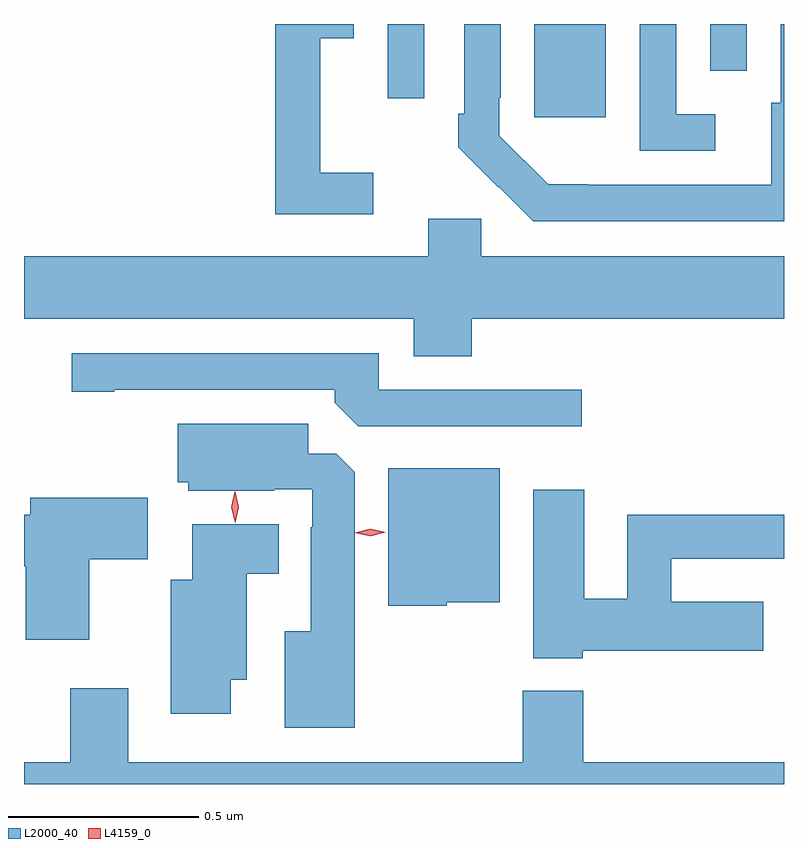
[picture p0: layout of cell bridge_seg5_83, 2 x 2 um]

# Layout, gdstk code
import gdstk
lib = gdstk.Library(unit=1e-6, precision=1e-09)
def R(c, l, rs):  # rectangles x0, y0, x1, y1
    for r in rs: c.add(gdstk.rectangle(r[:2], r[2:], *l))
def P(c, l, *ps):  # polygons
    for p in ps: c.add(gdstk.Polygon(p, *l))
L2000_40 = (2000, 40)
L4159_0 = (4159, 0)

bridge_seg5_83 = lib.new_cell('bridge_seg5_83')
R(bridge_seg5_83, L2000_40, [(125.837,913.233,126.025,913.479), (125.451,913.284,125.547,913.479), (126.3,913.356,126.396,913.479)])
P(bridge_seg5_83, L2000_40, [(126.494,913.479),(126.485,913.479),(126.485,913.272),(126.461,913.272),(126.461,913.056),(125.977,913.056),(125.977,913.057),(125.874,913.057),(125.745,913.185),(125.745,913.285),(125.748,913.285),(125.748,913.479),(125.652,913.479),(125.652,913.243),(125.637,913.243),(125.637,913.155),(125.742,913.05),(125.743,913.051),(125.834,912.96),(126.494,912.96)],
  [(125.413,913.087),(125.273,913.087),(125.273,913.442),(125.362,913.442),(125.362,913.479),(125.155,913.479),(125.155,912.978),(125.413,912.978)],
  [(126.313,913.242),(126.21,913.242),(126.21,913.479),(126.114,913.479),(126.114,913.146),(126.313,913.146)],
  [(125.672,912.704),(126.494,912.704),(126.494,912.868),(125.697,912.868),(125.697,912.966),(125.558,912.966),(125.558,912.868),(124.494,912.868),(124.494,912.704),(125.519,912.704),(125.519,912.605),(125.672,912.605)],
  [(125.962,912.516),(125.427,912.516),(125.427,912.612),(124.62,912.612),(124.62,912.511),(124.732,912.511),(124.732,912.516),(125.312,912.516),(125.312,912.482),(125.373,912.42),(125.962,912.42)],
  [(125.365,912.299),(125.316,912.348),(125.242,912.348),(125.242,912.427),(124.898,912.427),(124.898,912.273),(124.926,912.273),(124.926,912.251),(125.153,912.251),(125.153,912.255),(125.253,912.255),(125.253,912.155),(125.249,912.155),(125.249,911.881),(125.18,911.881),(125.18,911.627),(125.365,911.627)],
  [(125.607,911.957),(125.746,911.957),(125.746,912.31),(125.453,912.31),(125.453,911.948),(125.607,911.948)],
  [(125.964,911.83),(126.439,911.83),(126.439,911.959),(126.197,911.959),(126.197,912.072),(126.494,912.072),(126.494,912.188),(126.081,912.188),(126.081,911.967),(125.968,911.967),(125.968,912.253),(125.834,912.253),(125.834,911.81),(125.964,911.81)],
  [(124.666,912.07),(124.819,912.07),(124.819,912.232),(124.511,912.232),(124.511,912.188),(124.494,912.188),(124.494,912.052),(124.499,912.052),(124.499,911.859),(124.666,911.859)],
  [(125.038,911.753),(125.08,911.753),(125.08,912.032),(125.164,912.032),(125.164,912.163),(124.937,912.163),(124.937,912.016),(124.88,912.016),(124.88,911.664),(125.038,911.664)],
  [(125.966,911.725),(125.806,911.725),(125.806,911.536),(124.768,911.536),(124.768,911.731),(124.616,911.731),(124.616,911.536),(124.494,911.536),(124.494,911.479),(126.494,911.479),(126.494,911.536),(125.966,911.536)])
P(bridge_seg5_83, L4159_0, [(125.405,912.131),(125.364,912.14),(125.364,912.14),(125.364,912.14),(125.405,912.151),(125.446,912.142),(125.446,912.141),(125.446,912.141)],
  [(125.05,912.166),(125.05,912.166),(125.04,912.207),(125.049,912.248),(125.049,912.248),(125.05,912.248),(125.059,912.207),(125.05,912.166)])

lib.write_gds('bridge_seg5_83.gds')
